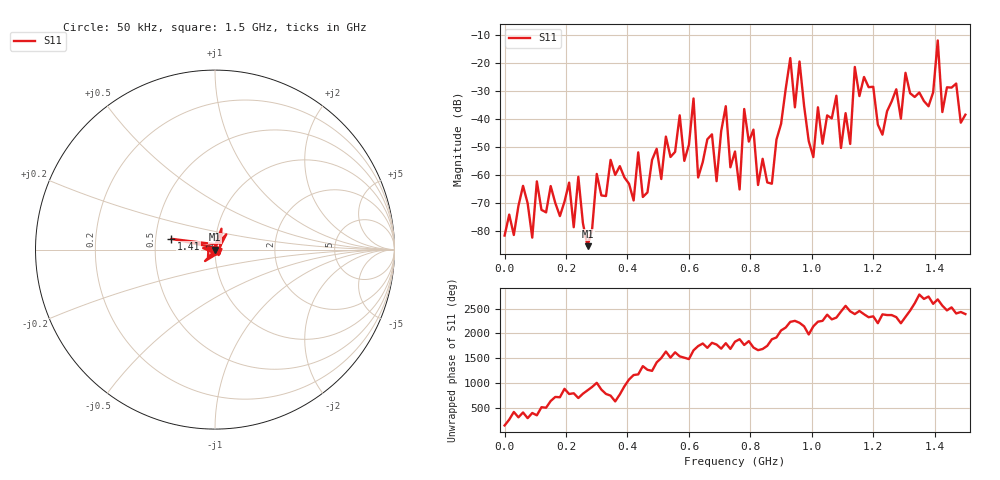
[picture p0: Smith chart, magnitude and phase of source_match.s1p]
! Created with skrf 1.8.0 (http://scikit-rf.org).
# Hz S RI R 50.0
!freq ReS11 ImS11
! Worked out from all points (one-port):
!   101 points, 50 kHz to 1.5 GHz, reference 50 ohm
!   lowest |S11| = -85.3 dB at 270 MHz (marker M1), VSWR 1.00, Z = 50 + j0.00404 ohm
!   |S11| at or under -10 dB: start of sweep to end of sweep
!   S11 on the Smith chart (normalised r, x): 50 kHz: 1.00, +0.00; 1.41 GHz: 0.61, +0.08; 1.5 GHz: 0.98, -0.02
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50000  -6.76e-05 5.01e-05
1.950435e8  -0.000323 0.000102
2.70041e8  -3.65e-05 4.04e-05
3.750375e8  0.000953 0.00109
4.50035e8  -7.19e-05 -0.000403
5.70031e8  -0.00137 0.0115
5.850305e8  0.000602 0.00169
6.150295e8  -0.0181 -0.0145
6.30029e8  0.00051 -0.000752
6.90027e8  0.000711 -0.000326
7.20026e8  0.0169 0.000741
7.50025e8  0.00222 0.00142
7.650245e8  7e-05 0.000552
7.80024e8  0.0125 -0.00839
8.70021e8  0.000107 0.000695
9.30019e8  0.036 0.1161
9.450185e8  -0.000795 0.0161
9.60018e8  0.0629 0.085
1.005016e9  0.002 -0.000638
1.080014e9  -0.0241 0.00957
1.125012e9  0.000957 -0.00347
1.140012e9  -0.0555 -0.0636
1.230009e9  -0.00378 -0.00365
1.320006e9  0.0139 -0.0251
1.380004e9  -0.0123 -0.0115
1.410003e9  -0.2429 0.0601
1.425002e9  0.0103 0.00844
1.5e9  -0.00769 -0.00911
